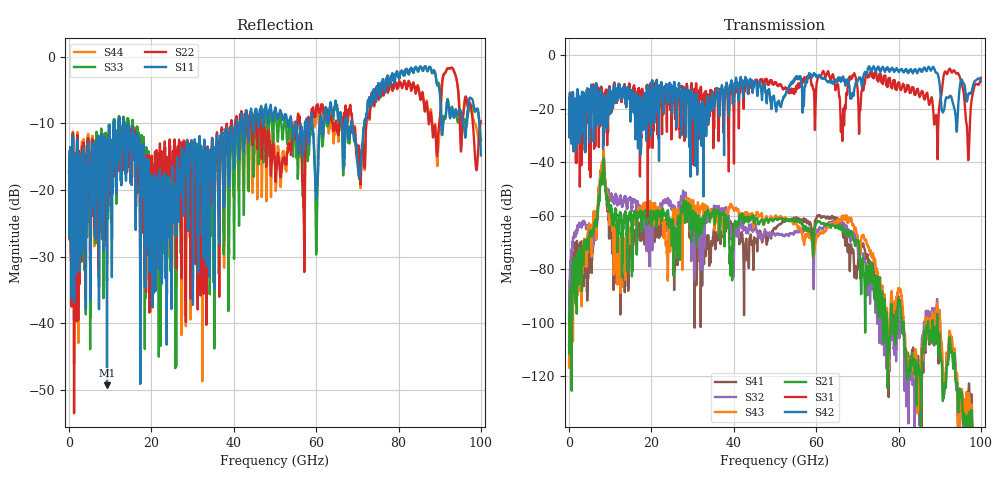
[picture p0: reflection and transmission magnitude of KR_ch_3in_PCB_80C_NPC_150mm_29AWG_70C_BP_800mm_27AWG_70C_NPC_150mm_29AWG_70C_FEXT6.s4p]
# GHz S RI R 45
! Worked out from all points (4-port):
!   4000 points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, 25 MHz to 100 GHz, reference 45 ohm
!   strongest paths, dB at 25 MHz, 25.02 GHz, 50.02 GHz, 75.03 GHz, 100 GHz:
!     S42: -21.8, -20.6, -18.8, -4.2, -9.7
!     S31: -21.8, -15.9, -10.1, -9.4, -8.4
!     S21: -108.5, -66.4, -61.1, -90.0, -163.3
!     S43: -116.9, -62.8, -60.2, -82.4, -157.0
!     S32: -98.6, -56.9, -67.5, -91.2, -176.5
!     S41: -104.7, -68.1, -64.7, -85.7, -157.7
!   lowest |S11| = -49.3 dB at 9.225 GHz (marker M1), VSWR 1.01, Z = 45.2 - j0.256 ohm
!   |S11| at or under -10 dB: start of sweep to 10.89 GHz; 13.4 GHz to 40.63 GHz (27.23 GHz wide, 101 % of centre); 68.73 GHz to 71.7 GHz (2.972 GHz wide, 4.23 % of centre)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
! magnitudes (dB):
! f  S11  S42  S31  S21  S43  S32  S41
! 25 MHz  -17.3  -21.8  -21.8  -108.5  -116.9  -98.6  -104.7
! 9.225 GHz  -49.3  -27.5  -27.0  -54.4  -52.6  -51.5  -55.4
! 12.65 GHz  -15.3  -13.6  -13.8  -60.6  -81.9  -53.7  -80.3
! 28.73 GHz  -16.3  -13.4  -12.8  -59.4  -57.6  -55.2  -61.8
! 92.53 GHz  -9.2  -15.1  -5.0  -106.7  -103.7  -105.5  -104.7
! 96.88 GHz  -7.6  -15.0  -37.7  -138.3  -134.5  -143.3  -130.1
! 100 GHz  -14.8  -9.7  -8.4  -163.3  -157.0  -176.5  -157.7
